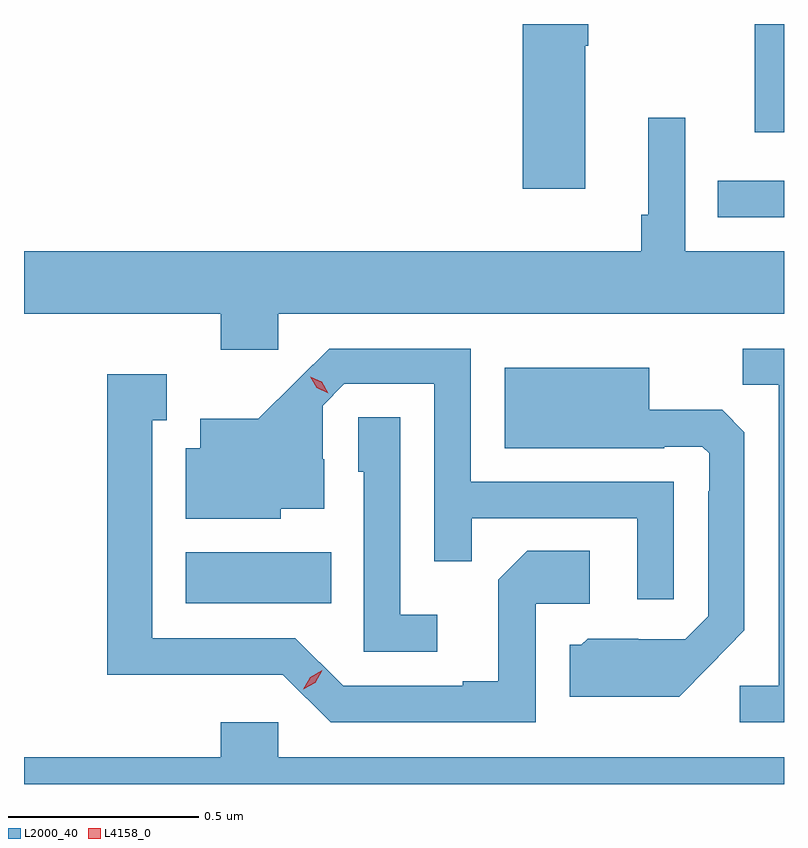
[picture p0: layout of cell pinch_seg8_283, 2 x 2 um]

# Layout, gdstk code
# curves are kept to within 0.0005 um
import gdstk
lib = gdstk.Library(unit=1e-6, precision=1e-09)
def R(c, l, rs):  # rectangles x0, y0, x1, y1
    for r in rs: c.add(gdstk.rectangle(r[:2], r[2:], *l))
def P(c, l, *ps):  # polygons
    for p in ps: c.add(gdstk.Polygon(p, *l))
L2000_40 = (2000, 40)
L4158_0 = (4158, 0)

pinch_seg8_283 = lib.new_cell('pinch_seg8_283')
R(pinch_seg8_283, L2000_40, [(529.202,1137.05,529.586,1137.184), (530.602,1138.065,530.777,1138.161), (530.7,1138.289,530.777,1138.574)])
P(pinch_seg8_283, L2000_40, [(530.254,1138.517),(530.262,1138.517),(530.262,1138.574),(530.09,1138.574),(530.09,1138.14),(530.254,1138.14)],
  [(530.777,1137.976),(530.517,1137.976),(530.517,1138.327),(530.42,1138.327),(530.42,1138.072),(530.401,1138.072),(530.401,1137.976),(528.777,1137.976),(528.777,1137.812),(529.295,1137.812),(529.295,1137.717),(529.446,1137.717),(529.446,1137.812),(530.777,1137.812)],
  [(530.777,1137.72),(530.668,1137.72),(530.668,1137.625),(530.763,1137.625),(530.763,1136.832),(530.661,1136.832),(530.661,1136.736),(530.777,1136.736)],
  [(530.487,1137.369),(529.953,1137.369),(529.953,1137.72),(529.58,1137.72),(529.393,1137.535),(529.241,1137.535),(529.241,1137.457),(529.202,1137.457),(529.202,1137.272),(529.452,1137.272),(529.452,1137.299),(529.567,1137.299),(529.567,1137.428),(529.563,1137.428),(529.563,1137.57),(529.62,1137.627),(529.857,1137.627),(529.857,1137.16),(529.955,1137.16),(529.955,1137.273),(530.391,1137.273),(530.391,1137.06),(530.487,1137.06)],
  [(530.581,1136.885),(530.673,1136.978),(530.673,1137.5),(530.614,1137.559),(530.422,1137.559),(530.422,1137.67),(530.042,1137.67),(530.042,1137.458),(530.462,1137.458),(530.462,1137.462),(530.562,1137.462),(530.58,1137.444),(530.58,1137.344),(530.577,1137.344),(530.577,1137.015),(530.517,1136.955),(530.394,1136.955),(530.394,1136.956),(530.26,1136.956),(530.244,1136.94),(530.213,1136.94),(530.213,1136.804),(530.501,1136.804)],
  [(530.124,1137.048),(530.266,1137.048),(530.266,1137.188),(530.101,1137.188),(530.025,1137.112),(530.025,1136.845),(529.931,1136.845),(529.931,1136.832),(529.617,1136.832),(529.491,1136.958),(529.114,1136.958),(529.114,1137.531),(529.153,1137.531),(529.153,1137.652),(528.996,1137.652),(528.996,1136.861),(529.236,1136.861),(529.236,1136.862),(529.458,1136.862),(529.584,1136.736),(530.124,1136.736)],
  [(529.864,1137.019),(529.767,1137.019),(529.767,1137.539),(529.656,1137.539),(529.656,1137.396),(529.671,1137.396),(529.671,1136.922),(529.864,1136.922)],
  [(530.777,1136.644),(529.446,1136.644),(529.446,1136.737),(529.295,1136.737),(529.295,1136.644),(528.777,1136.644),(528.777,1136.574),(530.777,1136.574)])
P(pinch_seg8_283, L4158_0, [(529.578,1137.602),(529.547,1137.617),(529.53,1137.646),(529.53,1137.646),(529.53,1137.646),(529.561,1137.632),(529.578,1137.602),(529.578,1137.602)],
  [(529.512,1136.823),(529.512,1136.823),(529.53,1136.855),(529.562,1136.874),(529.562,1136.874),(529.562,1136.874),(529.544,1136.841),(529.512,1136.823)])

lib.write_gds('pinch_seg8_283.gds')
